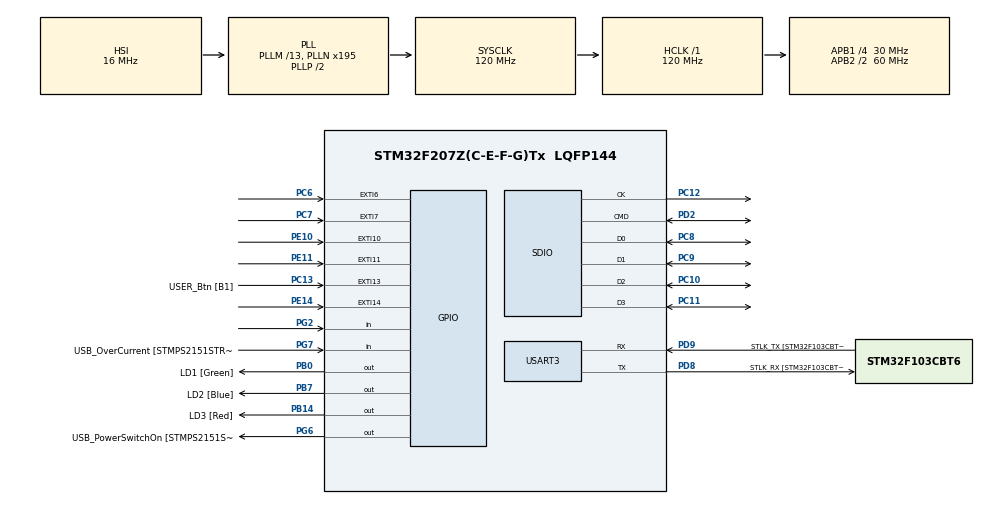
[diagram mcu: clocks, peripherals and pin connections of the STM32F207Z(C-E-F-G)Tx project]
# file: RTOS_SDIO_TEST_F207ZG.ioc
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Dma.Request0=SDIO_TX
Dma.Request1=SDIO_RX
Dma.SDIO_RX.1.Direction=DMA_PERIPH_TO_MEMORY
Dma.SDIO_RX.1.FIFOMode=DMA_FIFOMODE_ENABLE
Dma.SDIO_RX.1.FIFOThreshold=DMA_FIFO_THRESHOLD_FULL
Dma.SDIO_RX.1.Instance=DMA2_Stream3
Dma.SDIO_RX.1.MemBurst=DMA_MBURST_INC4
Dma.SDIO_RX.1.MemDataAlignment=DMA_MDATAALIGN_WORD
Dma.SDIO_RX.1.MemInc=DMA_MINC_ENABLE
Dma.SDIO_RX.1.Mode=DMA_PFCTRL
Dma.SDIO_RX.1.PeriphBurst=DMA_PBURST_INC4
Dma.SDIO_RX.1.PeriphDataAlignment=DMA_PDATAALIGN_WORD
Dma.SDIO_RX.1.PeriphInc=DMA_PINC_DISABLE
Dma.SDIO_RX.1.Priority=DMA_PRIORITY_LOW
Dma.SDIO_TX.0.Direction=DMA_MEMORY_TO_PERIPH
Dma.SDIO_TX.0.FIFOMode=DMA_FIFOMODE_ENABLE
Dma.SDIO_TX.0.FIFOThreshold=DMA_FIFO_THRESHOLD_FULL
Dma.SDIO_TX.0.Instance=DMA2_Stream6
Dma.SDIO_TX.0.MemBurst=DMA_MBURST_INC4
Dma.SDIO_TX.0.MemDataAlignment=DMA_MDATAALIGN_WORD
Dma.SDIO_TX.0.MemInc=DMA_MINC_ENABLE
Dma.SDIO_TX.0.Mode=DMA_PFCTRL
Dma.SDIO_TX.0.PeriphBurst=DMA_PBURST_INC4
Dma.SDIO_TX.0.PeriphDataAlignment=DMA_PDATAALIGN_WORD
Dma.SDIO_TX.0.PeriphInc=DMA_PINC_DISABLE
Dma.SDIO_TX.0.Priority=DMA_PRIORITY_LOW
FATFS.BSP.number=1
FATFS._CODE_PAGE=949
FATFS._USE_LFN=3
FATFS._WORD_ACCESS=1
FATFS0.BSP.STBoard=false
FATFS0.BSP.api=Unknown
FATFS0.BSP.i2caddr=0
FATFS0.BSP.instance=PG2
FATFS0.BSP.ip=GPIO
FATFS0.BSP.mode=Input
FATFS0.BSP.name=Detect_SDIO
FATFS0.BSP.solution=PG2
FREERTOS.Tasks01=LED_Task,0,128,LED_Task_Function,Default,NULL,Dynamic,NULL,NULL;uSD_Task,-3,128,uSD_Task_Function,Default,NULL,Dynamic,NULL,NULL
Mcu.Family=STM32F2
Mcu.Name=STM32F207Z(C-E-F-G)Tx
Mcu.Package=LQFP144
NVIC.DMA2_Stream3_IRQn=true\:6\:0\:true\:false\:true\:true\:false\:true
NVIC.DMA2_Stream6_IRQn=true\:6\:0\:true\:false\:true\:true\:false\:true
NVIC.EXTI15_10_IRQn=true\:5\:0\:false\:false\:true\:true\:true\:true
NVIC.EXTI9_5_IRQn=true\:5\:0\:false\:false\:true\:true\:true\:true
NVIC.PriorityGroup=NVIC_PRIORITYGROUP_4
NVIC.SDIO_IRQn=true\:5\:0\:true\:false\:true\:true\:true\:true
NVIC.TIM1_BRK_TIM9_IRQn=true\:0\:0\:false\:false\:true\:false\:false\:true
NVIC.TimeBase=TIM1_BRK_TIM9_IRQn
NVIC.TimeBaseIP=TIM9
PA1.GPIO_Label=RMII_REF_CLK [LAN8742A-CZ-TR_REFCLK0]
PA1.Signal=ETH_REF_CLK
PA10.GPIO_Label=USB_ID
PA10.Signal=USB_OTG_FS_ID
PA11.GPIO_Label=USB_DM
PA11.Signal=USB_OTG_FS_DM
PA12.GPIO_Label=USB_DP
PA12.Signal=USB_OTG_FS_DP
PA13.GPIO_Label=TMS
PA13.Mode=Trace_Asynchronous_SW
PA13.Signal=SYS_JTMS-SWDIO
PA14.GPIO_Label=TCK
PA14.Mode=Trace_Asynchronous_SW
PA14.Signal=SYS_JTCK-SWCLK
PA2.GPIO_Label=RMII_MDIO [LAN8742A-CZ-TR_MDIO]
PA2.Signal=ETH_MDIO
PA8.GPIO_Label=USB_SOF [TP1]
PA8.Signal=USB_OTG_FS_SOF
PA9.GPIO_Label=USB_VBUS
PA9.Signal=USB_OTG_FS_VBUS
PB0.GPIO_Label=LD1 [Green]
PB0.Signal=GPIO_Output
PB13.GPIO_Label=RMII_TXD1 [LAN8742A-CZ-TR_TXD1]
PB13.Signal=ETH_TXD1
PB14.GPIO_Label=LD3 [Red]
PB14.Signal=GPIO_Output
PB3.GPIO_Label=SWO
PB3.Mode=Trace_Asynchronous_SW
PB3.Signal=SYS_JTDO-SWO
PB7.GPIO_Label=LD2 [Blue]
PB7.Signal=GPIO_Output
PC1.GPIO_Label=RMII_MDC [LAN8742A-CZ-TR_MDC]
PC1.Signal=ETH_MDC
PC10.Mode=SD_4_bits_Wide_bus
PC10.Signal=SDIO_D2
PC11.Mode=SD_4_bits_Wide_bus
PC11.Signal=SDIO_D3
PC12.Mode=SD_4_bits_Wide_bus
PC12.Signal=SDIO_CK
PC13.GPIO_Label=USER_Btn [B1]
PC13.Signal=GPXTI13
PC14-OSC32_IN.Mode=LSE-External-Oscillator
PC14-OSC32_IN.Signal=RCC_OSC32_IN
PC15-OSC32_OUT.Mode=LSE-External-Oscillator
PC15-OSC32_OUT.Signal=RCC_OSC32_OUT
PC4.GPIO_Label=RMII_RXD0 [LAN8742A-CZ-TR_RXD0]
PC4.Signal=ETH_RXD0
PC5.GPIO_Label=RMII_RXD1 [LAN8742A-CZ-TR_RXD1]
PC5.Signal=ETH_RXD1
PC6.Signal=GPXTI6
PC7.Signal=GPXTI7
PC8.Mode=SD_4_bits_Wide_bus
PC8.Signal=SDIO_D0
PC9.Mode=SD_4_bits_Wide_bus
PC9.Signal=SDIO_D1
PD2.Mode=SD_4_bits_Wide_bus
PD2.Signal=SDIO_CMD
PD8.GPIO_Label=STLK_RX [STM32F103CBT6_PA3]
PD8.Mode=Asynchronous
PD8.Signal=USART3_TX
PD9.GPIO_Label=STLK_TX [STM32F103CBT6_PA2]
PD9.Mode=Asynchronous
PD9.Signal=USART3_RX
PE10.Signal=GPXTI10
PE11.Signal=GPXTI11
PE14.Signal=GPXTI14
PG11.GPIO_Label=RMII_TX_EN [LAN8742A-CZ-TR_TXEN]
PG11.Signal=ETH_TX_EN
PG13.GPIO_Label=RMII_TXD0 [LAN8742A-CZ-TR_TXD0]
PG13.Signal=ETH_TXD0
PG2.GPIO_PuPd=GPIO_PULLUP
PG2.Signal=GPIO_Input
PG6.GPIO_Label=USB_PowerSwitchOn [STMPS2151STR_EN]
PG6.Signal=GPIO_Output
PG7.GPIO_Label=USB_OverCurrent [STMPS2151STR_FAULT]
PG7.Signal=GPIO_Input
PH0-OSC_IN.GPIO_Label=MCO [STM32F103CBT6_PA8]
PH0-OSC_IN.Mode=HSE-External-Clock-Source
PH0-OSC_IN.Signal=RCC_OSC_IN
PH1-OSC_OUT.Mode=HSE-External-Clock-Source
PH1-OSC_OUT.Signal=RCC_OSC_OUT
ProjectManager.HeapSize=0x200
ProjectManager.StackSize=0x400
ProjectManager.TargetToolchain=STM32CubeIDE
RCC.48MHZClocksFreq_Value=48000000
RCC.AHBFreq_Value=120000000
RCC.APB1CLKDivider=RCC_HCLK_DIV4
RCC.APB1Freq_Value=30000000
RCC.APB1TimFreq_Value=60000000
RCC.APB2CLKDivider=RCC_HCLK_DIV2
RCC.APB2Freq_Value=60000000
RCC.APB2TimFreq_Value=120000000
RCC.CortexFreq_Value=120000000
RCC.HCLKFreq_Value=120000000
RCC.HSE_VALUE=8000000
RCC.HSI_VALUE=16000000
RCC.PLLM=13
RCC.PLLMUL=RCC_PLL_MUL9
RCC.PLLN=195
RCC.PLLQ=5
RCC.PRESCALERUSB=RCC_USBCLKSOURCE_PLL_DIV1_5
RCC.SYSCLKFreq_VALUE=120000000
RCC.SYSCLKSource=RCC_SYSCLKSOURCE_PLLCLK
RCC.SYSCLKSourceVirtual=RCC_SYSCLKSOURCE_PLLCLK
RCC.USBFreq_Value=48000000
RCC.VCOOutputFreq_Value=240000000
SDIO.ClockBypass=SDIO_CLOCK_BYPASS_DISABLE
SDIO.ClockDiv=10
SDIO.HardwareFlowControl=SDIO_HARDWARE_FLOW_CONTROL_DISABLE
USART3.VirtualMode=VM_ASYNC
VP_FATFS_VS_SDIO.Mode=SDIO
VP_FREERTOS_VS_CMSIS_V1.Mode=CMSIS_V1
VP_SYS_VS_tim9.Mode=TIM9
board=custom

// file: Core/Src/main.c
/* USER CODE BEGIN Header */
/**
 ******************************************************************************
 * @file           : main.c
 * @brief          : Main program body
 ******************************************************************************
 * @attention
 *
 * <h2><center>&copy; Copyright (c) 2020 STMicroelectronics.
 * All rights reserved.</center></h2>
 *
 * This software component is licensed by ST under BSD 3-Clause license,
 * the "License"; You may not use this file except in compliance with the
 * License. You may obtain a copy of the License at:
 *                        opensource.org/licenses/BSD-3-Clause
 *
 ******************************************************************************
 */
/* USER CODE END Header */
#include "main.h"
#include "cmsis_os.h"
#include "fatfs.h"

/* USER CODE BEGIN PTD */
typedef enum
{
	SHIELD_NOT_DETECTED = 0, SHIELD_DETECTED
} ShieldStatus;
/* USER CODE END PTD */

SD_HandleTypeDef hsd;
DMA_HandleTypeDef hdma_sdio_tx;
DMA_HandleTypeDef hdma_sdio_rx;

UART_HandleTypeDef huart3;

osThreadId LED_TaskHandle;
osThreadId uSD_TaskHandle;
/* USER CODE BEGIN PV */
uint8_t fileOnce = 0;

uint8_t feror = 0;
uint8_t fName[] = "testfile.txt\0";

uint8_t string[20];
uint8_t alaram[50] = "hello this is FREERTOS and FATFS Demo";
FRESULT res;
UINT bytesCnt = 0;

FATFS SDFatFs; /* File system object for SD disk logical drive */
FIL MyFile; /* File object */
char SDPath[4]; /* SD disk logical drive path */
static uint8_t buffer[_MAX_SS]; /* a work buffer for the f_mkfs() */
/* USER CODE END PV */

void SystemClock_Config(void);
static void MX_GPIO_Init(void);
static void MX_DMA_Init(void);
static void MX_USART3_UART_Init(void);
static void MX_SDIO_SD_Init(void);
void LED_Task_Function(void const *argument);
void uSD_Task_Function(void const *argument);

/* USER CODE BEGIN 0 */
static ShieldStatus TFT_ShieldDetect(void)
{
	GPIO_InitTypeDef GPIO_InitStruct;

	/* Enable GPIO clock */
	__HAL_RCC_GPIOC_CLK_ENABLE();

	GPIO_InitStruct.Pin = GPIO_PIN_2;
	GPIO_InitStruct.Mode = GPIO_MODE_INPUT;
	GPIO_InitStruct.Pull = GPIO_PULLDOWN;
	HAL_GPIO_Init(GPIOG, &GPIO_InitStruct);

	if (HAL_GPIO_ReadPin(GPIOG, GPIO_PIN_2) != 0)
	{
		return SHIELD_DETECTED;
	}
	else
	{
		return SHIELD_NOT_DETECTED;
	}
}
void HAL_GPIO_EXTI_Callback(uint16_t GPIO_Pin)
{
	switch (GPIO_Pin)
	{
	case GPIO_PIN_6:
		ITM_SendChar('6');
		ITM_SendChar('\r');
		ITM_SendChar('\n');
		break;
	case GPIO_PIN_7:
		ITM_SendChar('7');
		ITM_SendChar('\r');
		ITM_SendChar('\n');
		break;
	case GPIO_PIN_10:
		HAL_GPIO_TogglePin(GPIOB, GPIO_PIN_7);
		break;
	case GPIO_PIN_11:
		HAL_GPIO_TogglePin(GPIOB, GPIO_PIN_0);
		break;
	case GPIO_PIN_14:
		HAL_GPIO_TogglePin(GPIOB, GPIO_PIN_14);
		break;
	}
}

void ITM_SendStr(char *str)
{
	while (*str)
	{
		ITM_SendChar(*str);
		str++;
	}
}

/* USER CODE END 0 */

int main(void)
{

	/* MCU Configuration--------------------------------------------------------*/

	/* Reset of all peripherals, Initializes the Flash interface and the Systick. */
	HAL_Init();

	/* Configure the system clock */
	SystemClock_Config();

	/* Initialize all configured peripherals */
	MX_GPIO_Init();
	MX_DMA_Init();
	MX_USART3_UART_Init();
	MX_SDIO_SD_Init();
	MX_FATFS_Init();

	/* Create the thread(s) */
	/* definition and creation of LED_Task */
	osThreadDef(LED_Task, LED_Task_Function, osPriorityNormal, 0, 128);
	LED_TaskHandle = osThreadCreate(osThread(LED_Task), NULL);

	/* definition and creation of uSD_Task */
	osThreadDef(uSD_Task, uSD_Task_Function, osPriorityIdle, 0, 128);
	uSD_TaskHandle = osThreadCreate(osThread(uSD_Task), NULL);

	/* Start scheduler */
	osKernelStart();

	/* We should never get here as control is now taken by the scheduler */
	/* Infinite loop */
	while (1)
	{

	}
}

void SystemClock_Config(void)
{
	RCC_OscInitTypeDef RCC_OscInitStruct =
	{ 0 };
	RCC_ClkInitTypeDef RCC_ClkInitStruct =
	{ 0 };

	/** Initializes the RCC Oscillators according to the specified parameters
	 * in the RCC_OscInitTypeDef structure.
	 */
	RCC_OscInitStruct.OscillatorType = RCC_OSCILLATORTYPE_HSI;
	RCC_OscInitStruct.HSIState = RCC_HSI_ON;
	RCC_OscInitStruct.HSICalibrationValue = RCC_HSICALIBRATION_DEFAULT;
	RCC_OscInitStruct.PLL.PLLState = RCC_PLL_ON;
	RCC_OscInitStruct.PLL.PLLSource = RCC_PLLSOURCE_HSI;
	RCC_OscInitStruct.PLL.PLLM = 13;
	RCC_OscInitStruct.PLL.PLLN = 195;
	RCC_OscInitStruct.PLL.PLLP = RCC_PLLP_DIV2;
	RCC_OscInitStruct.PLL.PLLQ = 5;
	if (HAL_RCC_OscConfig(&RCC_OscInitStruct) != HAL_OK)
	{
		Error_Handler();
	}
	/** Initializes the CPU, AHB and APB buses clocks
	 */
	RCC_ClkInitStruct.ClockType = RCC_CLOCKTYPE_HCLK | RCC_CLOCKTYPE_SYSCLK
			| RCC_CLOCKTYPE_PCLK1 | RCC_CLOCKTYPE_PCLK2;
	RCC_ClkInitStruct.SYSCLKSource = RCC_SYSCLKSOURCE_PLLCLK;
	RCC_ClkInitStruct.AHBCLKDivider = RCC_SYSCLK_DIV1;
	RCC_ClkInitStruct.APB1CLKDivider = RCC_HCLK_DIV4;
	RCC_ClkInitStruct.APB2CLKDivider = RCC_HCLK_DIV2;

	if (HAL_RCC_ClockConfig(&RCC_ClkInitStruct, FLASH_LATENCY_3) != HAL_OK)
	{
		Error_Handler();
	}
}

static void MX_SDIO_SD_Init(void)
{

	hsd.Instance = SDIO;
	hsd.Init.ClockEdge = SDIO_CLOCK_EDGE_RISING;
	hsd.Init.ClockBypass = SDIO_CLOCK_BYPASS_DISABLE;
	hsd.Init.ClockPowerSave = SDIO_CLOCK_POWER_SAVE_DISABLE;
	hsd.Init.BusWide = SDIO_BUS_WIDE_1B;
	hsd.Init.HardwareFlowControl = SDIO_HARDWARE_FLOW_CONTROL_DISABLE;
	hsd.Init.ClockDiv = 10;

}

static void MX_USART3_UART_Init(void)
{

	huart3.Instance = USART3;
	huart3.Init.BaudRate = 115200;
	huart3.Init.WordLength = UART_WORDLENGTH_8B;
	huart3.Init.StopBits = UART_STOPBITS_1;
	huart3.Init.Parity = UART_PARITY_NONE;
	huart3.Init.Mode = UART_MODE_TX_RX;
	huart3.Init.HwFlowCtl = UART_HWCONTROL_NONE;
	huart3.Init.OverSampling = UART_OVERSAMPLING_16;
	if (HAL_UART_Init(&huart3) != HAL_OK)
	{
		Error_Handler();
	}

}

static void MX_DMA_Init(void)
{

	/* DMA controller clock enable */
	__HAL_RCC_DMA2_CLK_ENABLE();

	/* DMA interrupt init */
	/* DMA2_Stream3_IRQn interrupt configuration */
	HAL_NVIC_SetPriority(DMA2_Stream3_IRQn, 6, 0);
	HAL_NVIC_EnableIRQ(DMA2_Stream3_IRQn);
	/* DMA2_Stream6_IRQn interrupt configuration */
	HAL_NVIC_SetPriority(DMA2_Stream6_IRQn, 6, 0);
	HAL_NVIC_EnableIRQ(DMA2_Stream6_IRQn);

}

static void MX_GPIO_Init(void)
{
	GPIO_InitTypeDef GPIO_InitStruct =
	{ 0 };

	/* GPIO Ports Clock Enable */
	__HAL_RCC_GPIOC_CLK_ENABLE();
	__HAL_RCC_GPIOH_CLK_ENABLE();
	__HAL_RCC_GPIOA_CLK_ENABLE();
	__HAL_RCC_GPIOB_CLK_ENABLE();
	__HAL_RCC_GPIOE_CLK_ENABLE();
	__HAL_RCC_GPIOD_CLK_ENABLE();
	__HAL_RCC_GPIOG_CLK_ENABLE();

	/*Configure GPIO pin Output Level */
	HAL_GPIO_WritePin(GPIOB, LD1_Pin | LD3_Pin | LD2_Pin, GPIO_PIN_RESET);

	/*Configure GPIO pin Output Level */
	HAL_GPIO_WritePin(USB_PowerSwitchOn_GPIO_Port, USB_PowerSwitchOn_Pin,
			GPIO_PIN_RESET);

	/*Configure GPIO pins : USER_Btn_Pin PC6 PC7 */
	GPIO_InitStruct.Pin = USER_Btn_Pin | GPIO_PIN_6 | GPIO_PIN_7;
	GPIO_InitStruct.Mode = GPIO_MODE_IT_RISING;
	GPIO_InitStruct.Pull = GPIO_NOPULL;
	HAL_GPIO_Init(GPIOC, &GPIO_InitStruct);

	/*Configure GPIO pins : RMII_MDC_Pin RMII_RXD0_Pin RMII_RXD1_Pin */
	GPIO_InitStruct.Pin = RMII_MDC_Pin | RMII_RXD0_Pin | RMII_RXD1_Pin;
	GPIO_InitStruct.Mode = GPIO_MODE_AF_PP;
	GPIO_InitStruct.Pull = GPIO_NOPULL;
	GPIO_InitStruct.Speed = GPIO_SPEED_FREQ_VERY_HIGH;
	GPIO_InitStruct.Alternate = GPIO_AF11_ETH;
	HAL_GPIO_Init(GPIOC, &GPIO_InitStruct);

	/*Configure GPIO pins : RMII_REF_CLK_Pin RMII_MDIO_Pin */
	GPIO_InitStruct.Pin = RMII_REF_CLK_Pin | RMII_MDIO_Pin;
	GPIO_InitStruct.Mode = GPIO_MODE_AF_PP;
	GPIO_InitStruct.Pull = GPIO_NOPULL;
	GPIO_InitStruct.Speed = GPIO_SPEED_FREQ_VERY_HIGH;
	GPIO_InitStruct.Alternate = GPIO_AF11_ETH;
	HAL_GPIO_Init(GPIOA, &GPIO_InitStruct);

	/*Configure GPIO pins : LD1_Pin LD3_Pin LD2_Pin */
	GPIO_InitStruct.Pin = LD1_Pin | LD3_Pin | LD2_Pin;
	GPIO_InitStruct.Mode = GPIO_MODE_OUTPUT_PP;
	GPIO_InitStruct.Pull = GPIO_NOPULL;
	GPIO_InitStruct.Speed = GPIO_SPEED_FREQ_LOW;
	HAL_GPIO_Init(GPIOB, &GPIO_InitStruct);

	/*Configure GPIO pins : PE10 PE11 PE14 */
	GPIO_InitStruct.Pin = GPIO_PIN_10 | GPIO_PIN_11 | GPIO_PIN_14;
	GPIO_InitStruct.Mode = GPIO_MODE_IT_RISING;
	GPIO_InitStruct.Pull = GPIO_NOPULL;
	HAL_GPIO_Init(GPIOE, &GPIO_InitStruct);

	/*Configure GPIO pin : RMII_TXD1_Pin */
	GPIO_InitStruct.Pin = RMII_TXD1_Pin;
	GPIO_InitStruct.Mode = GPIO_MODE_AF_PP;
	GPIO_InitStruct.Pull = GPIO_NOPULL;
	GPIO_InitStruct.Speed = GPIO_SPEED_FREQ_VERY_HIGH;
	GPIO_InitStruct.Alternate = GPIO_AF11_ETH;
	HAL_GPIO_Init(RMII_TXD1_GPIO_Port, &GPIO_InitStruct);

	/*Configure GPIO pin : PG2 */
	GPIO_InitStruct.Pin = GPIO_PIN_2;
	GPIO_InitStruct.Mode = GPIO_MODE_INPUT;
	GPIO_InitStruct.Pull = GPIO_PULLUP;
	HAL_GPIO_Init(GPIOG, &GPIO_InitStruct);

	/*Configure GPIO pin : USB_PowerSwitchOn_Pin */
	GPIO_InitStruct.Pin = USB_PowerSwitchOn_Pin;
	GPIO_InitStruct.Mode = GPIO_MODE_OUTPUT_PP;
	GPIO_InitStruct.Pull = GPIO_NOPULL;
	GPIO_InitStruct.Speed = GPIO_SPEED_FREQ_LOW;
	HAL_GPIO_Init(USB_PowerSwitchOn_GPIO_Port, &GPIO_InitStruct);

	/*Configure GPIO pin : USB_OverCurrent_Pin */
	GPIO_InitStruct.Pin = USB_OverCurrent_Pin;
	GPIO_InitStruct.Mode = GPIO_MODE_INPUT;
	GPIO_InitStruct.Pull = GPIO_NOPULL;
	HAL_GPIO_Init(USB_OverCurrent_GPIO_Port, &GPIO_InitStruct);

	/*Configure GPIO pins : USB_SOF_Pin USB_ID_Pin USB_DM_Pin USB_DP_Pin */
	GPIO_InitStruct.Pin = USB_SOF_Pin | USB_ID_Pin | USB_DM_Pin | USB_DP_Pin;
	GPIO_InitStruct.Mode = GPIO_MODE_AF_PP;
	GPIO_InitStruct.Pull = GPIO_NOPULL;
	GPIO_InitStruct.Speed = GPIO_SPEED_FREQ_VERY_HIGH;
	GPIO_InitStruct.Alternate = GPIO_AF10_OTG_FS;
	HAL_GPIO_Init(GPIOA, &GPIO_InitStruct);

	/*Configure GPIO pin : USB_VBUS_Pin */
	GPIO_InitStruct.Pin = USB_VBUS_Pin;
	GPIO_InitStruct.Mode = GPIO_MODE_INPUT;
	GPIO_InitStruct.Pull = GPIO_NOPULL;
	HAL_GPIO_Init(USB_VBUS_GPIO_Port, &GPIO_InitStruct);

	/*Configure GPIO pins : RMII_TX_EN_Pin RMII_TXD0_Pin */
	GPIO_InitStruct.Pin = RMII_TX_EN_Pin | RMII_TXD0_Pin;
	GPIO_InitStruct.Mode = GPIO_MODE_AF_PP;
	GPIO_InitStruct.Pull = GPIO_NOPULL;
	GPIO_InitStruct.Speed = GPIO_SPEED_FREQ_VERY_HIGH;
	GPIO_InitStruct.Alternate = GPIO_AF11_ETH;
	HAL_GPIO_Init(GPIOG, &GPIO_InitStruct);

	/* EXTI interrupt init*/
	HAL_NVIC_SetPriority(EXTI9_5_IRQn, 5, 0);
	HAL_NVIC_EnableIRQ(EXTI9_5_IRQn);

	HAL_NVIC_SetPriority(EXTI15_10_IRQn, 5, 0);
	HAL_NVIC_EnableIRQ(EXTI15_10_IRQn);

}

void LED_Task_Function(void const *argument)
{
	/* USER CODE BEGIN 5 */
	/* Infinite loop */
	for (;;)
	{
		HAL_GPIO_WritePin(LD1_GPIO_Port, LD1_Pin, GPIO_PIN_SET);
		osDelay(100);
		HAL_GPIO_WritePin(LD2_GPIO_Port, LD2_Pin, GPIO_PIN_SET);
		osDelay(100);
		HAL_GPIO_WritePin(LD3_GPIO_Port, LD3_Pin, GPIO_PIN_SET);
		osDelay(100);
		HAL_GPIO_WritePin(LD1_GPIO_Port, LD1_Pin, GPIO_PIN_RESET);
		osDelay(100);
		HAL_GPIO_WritePin(LD2_GPIO_Port, LD2_Pin, GPIO_PIN_RESET);
		osDelay(100);
		HAL_GPIO_WritePin(LD3_GPIO_Port, LD3_Pin, GPIO_PIN_RESET);
		osDelay(100);
	}
	/* USER CODE END 5 */
}

void uSD_Task_Function(void const *argument)
{
	/* USER CODE BEGIN uSD_Task_Function */
	/* Infinite loop */
	for (;;)
	{
		if (fileOnce == 0)
		{
			//	xSemaphoreTake(myMutex01Handle,100);
			res = f_mount(&SDFatFs, SDPath, 1);
			if (res == FR_OK)
			{
				if (f_open(&MyFile, (char*) fName, FA_WRITE | FA_CREATE_ALWAYS)
						== FR_OK)
				{
					res = f_write(&MyFile, alaram, sizeof(alaram), &bytesCnt);
					f_close(&MyFile);
					//HAL_GPIO_WritePin(GPIOG, GPIO_PIN_6, GPIO_PIN_SET);
					HAL_GPIO_TogglePin(GPIOG, GPIO_PIN_6);

				}
				/*else if(f_open(&file,(char *)fName, FA_WRITE | FA_CREATE_ALWAYS)== FR_OK)
				 {
				 UINT bytesCnt= 0;
				 f_write(&file,alaram,sizeof(alaram),&bytesCnt);
				 f_close(&file);
				 }*/
			}
			else
			{
				HAL_GPIO_WritePin(LD3_GPIO_Port, LD3_Pin, GPIO_PIN_SET);
			}
			fileOnce = 1;
			//xSemaphoreGive(myMutex01Handle);
		}
		osDelay(1000);
	}
	/* USER CODE END uSD_Task_Function */
}

void HAL_TIM_PeriodElapsedCallback(TIM_HandleTypeDef *htim)
{
	if (htim->Instance == TIM9)
	{
		HAL_IncTick();
	}
}

void Error_Handler(void)
{
}

/************************ (C) COPYRIGHT STMicroelectronics *****END OF FILE****/
